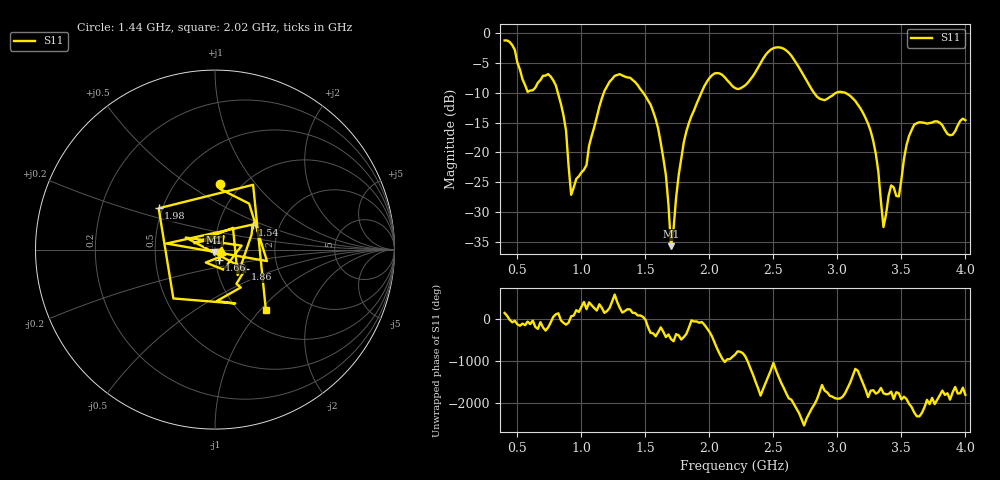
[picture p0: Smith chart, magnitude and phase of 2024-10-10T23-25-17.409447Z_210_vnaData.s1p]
! Created with skrf (http://scikit-rf.org).
# Hz S RI R 50.0
!freq ReS11 ImS11
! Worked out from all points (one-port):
!   181 points, 400 MHz to 4 GHz, reference 50 ohm
!   lowest |S11| = -35.7 dB at 1.7 GHz (marker M1), VSWR 1.03, Z = 49.3 - j1.47 ohm
!   |S11| at or under -10 dB: 815.4 MHz to 1.175 GHz (360 MHz wide, 36.2 % of centre); 1.482 GHz to 1.938 GHz (455.1 MHz wide, 26.6 % of centre); 3.059 GHz to end of sweep (the widest 3 of 4)
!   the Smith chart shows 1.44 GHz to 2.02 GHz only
!   S11 on the Smith chart (normalised r, x): 1.44 GHz: 0.81, +0.68; 1.54 GHz: 1.45, +0.43; 1.66 GHz: 1.04, -0.12; 1.86 GHz: 1.37, -0.31; 1.98 GHz: 0.48, +0.26; 2.02 GHz: 1.28, -1.08
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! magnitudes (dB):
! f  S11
! 400 MHz  -1.3
! 480 MHz  -2.8
! 580 MHz  -9.9
! 760 MHz  -7.3
! 860 MHz  -13.8
! 920 MHz  -27.1
! 1.04 GHz  -22.1
! 1.18 GHz  -9.7
! 1.3 GHz  -6.9
! 1.44 GHz  -8.7
! 1.54 GHz  -12.0
! 1.66 GHz  -23.8
! 1.7 GHz  -35.7
! 1.76 GHz  -23.8
! 1.86 GHz  -13.9
! 1.98 GHz  -8.2
! 2.02 GHz  -7.1
! 2.2 GHz  -9.2
! 2.5 GHz  -2.6
! 2.66 GHz  -4.4
! 2.86 GHz  -11.0
! 3.1 GHz  -10.5
! 3.28 GHz  -18.1
! 3.36 GHz  -32.5
! 3.42 GHz  -25.5
! 3.48 GHz  -27.4
! 3.56 GHz  -17.3
! 4 GHz  -14.6
